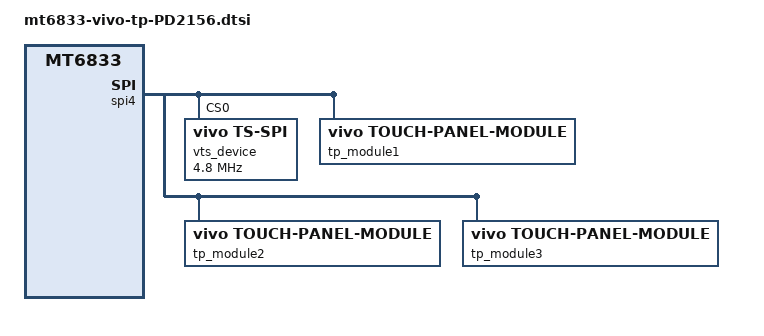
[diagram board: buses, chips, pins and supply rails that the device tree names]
/ {
	fragment@touch {
		target-path = "/";
		__overlay__ {
			mobileevent {
				status = "okay";
				compatible = "vivo,mobile_event";
				vivo-i2c-event=<1>;
				vivo-channel-broken=<1>;
				vivo-click-event=<1>;
				vivo-unexpected-reset-event=<1>;
				vivo-log-system=<0>;
				vivo-prox-near=<1>;
				vivo-hsync-collect=<1>;
				vivo-ic-mode=<1>;
				vivo-int-cost=<1>;
				vivo-large-press-event=<1>;
				vivo-multi-touch=<1>;
				vivo-press-area=<1>;
				// vivo-edge-reject-fail=<1>;
				vivo-resume-to-touch=<1>;
				vivo-handler-cost=<1>;
				vivo-five-more-touch=<1>;
			};
		};
	};
};

&pio {
	pd2156_tp_spi_mode: clk_mode_default {
		pins_cmd_dat {
			pinmux = <PINMUX_GPIO97__FUNC_SPI4_CLK>,
				<PINMUX_GPIO13__FUNC_SPI4_MO>;
			drive-strength = <4>; // 0:2mA 1:4mA 2:6mA 3:8mA 4:10mA 5:12mA 6:14mA 7:16mA
		};
	};
};

&spi4 {
	status = "okay";
	vts_device@0 {
		compatible = "vivo,ts-spi";
		status = "okay";
		reg=<0>;
		spi-max-frequency = <4800000>;
		pinctrl-names = "default";
		pinctrl-0 = <&pd2156_tp_spi_mode>;
		nt36672 {
			compatible = "novatek,NVT-ts-spi-v2";
			status = "ok";

			vts-type=<0>;
			vts-ic-number=<81>;
			spi-max-frequency = <9600000>;	//4800000,9600000,15000000,19200000
			novatek,reset-gpio = <&pio 186 0x00>;
			novatek,irq-gpio = <&pio 14 0x2001>;
			novatek,cs-gpio = <&pio 98 0x00>;
			novatek,miso-gpio = <&pio 12 0x00>;
			sensor-test-key="com.nttouchscreen.mptest:MainActivity:android.intent.action.novatek:0:testResult";
			lcm-noise-test-key="com.nt36xxxtouchscreen.deltadiff:MainActivity:null:null:null";
			rawdata-test-key="com.nttouchscreen.getdata:MainActivity:null:null:null";
			rf-noise-test-key="com.nt36xxxtouchscreen.deltadiff:BspTest:android.intent.action.nvtdeltadiff:0:testResult";

			novatek,swrst-n8-addr = <0x03F0FE>;
			//vts-incell-panel = <&dsi_nt36675_tm_fhdplus_video &dsi_ft8756_truly_fhdplus_video &dsi_nt36672c_tm657_dsc_fhdplus_video>;
		};

		ili_9882n {
			status = "okay";
			compatible = "tchip,ilitek";
			vts-type=<0>;
			vts-ic-number=<91>;
			spi-max-frequency = <9600000>;
			touch,reset-gpio = <&pio 186 0x00>;
			touch,irq-gpio = <&pio 14 0x2001>;

			sensor-test-key="com.ilitek.touchscreen.tptest3X:MP3XActivity:com.ilitek.touchscreen.action.tptest:0:ILITEK_TpTestResult";
			lcm-noise-test-key="com.ilitek.touchscreen.noisev2:MainActivity:null:null:null";
			rawdata-test-key="com.ilitek.touchscreen.noisev2:DataShowActivity:null:null:null";
			rf-noise-test-key="com.ilitek.touchscreen.noisev2:BspTestActivity:com.ilitek.touchscreen.action.noisetest:0:ILITEK_TpTestResult";
			//vts-incell-panel=<&dsi_pd2034_tm_ili9882n_hdplus_video &dsi_pd2034_inx_ili9882n_hdplus_video>;
		};

		ft8720 {
			compatible = "focaltech,ft8756_v2";
			vts-type=<0>;
			vts-ic-number=<38>;
			spi-max-frequency = <6000000>;	//4800000,9600000,15000000,19200000
			focaltech,ic_name = "ft8720";
			focaltech,reset-gpio = <&pio 186 0x00>;
			focaltech,irq-gpio = <&pio 14 0x2001>;
			focaltech,cs-gpio = <&pio 98 0x00>;
			focaltech,max-touch-number = <10>;
			focaltech,display-coords = <0 0 1080 2408>;
			focaltech,vts-gesture-separate = <1>;
			focaltech,vts-reset-poweroff = <1>;

			sensor-test-key="com.focaltouchscreen.sensortest:MainActivity:com.focaltouchscreen.sensortest:0:focal_test_result";
			lcm-noise-test-key="com.focaltech.deltadiff:MainActivity:null:null:null";
			rawdata-test-key="com.focaltech.deltadiff:DataActivity:null:null:null";
			rf-noise-test-key="com.focaltech.deltadiff:BspTestActivity:com.focaltech.deltadiff:0:testResult";
			//vts-incell-panel = <&dsi_pd2073_dj_ft8720_dsc_fhd_120_video>;
		};
	};

	tp_module1 {
		compatible = "vivo,touch-panel-module";
		vts-ic-number=<81>;
		vts-type=<0>;
		vts-lcmid=<19>; // CPD2117 INCELL TM XH SB NT36672C  1211772  lcmid  0x13
		vts-dimention-x=<1080>;
		vts-dimention-y=<2408>;
		vts-tx-sensors=<18>;
		vts-rx-sensors=<32>;
		vts-incell=<1>;
		vts-gesture=<1>;
		vts-need-caliberation=<0>;
		vts-virtual-proximinity=<0>;
		vts-long-press=<0>;
		vts-module-vendor=<0xF0>;
		vts-no-flash=<1>;
		vts-game-mode=<1>;
		vts-game-idle-time=<10>;
		vts-report-timestamp=<1>;
		vts-delay-avee=<200>;
		vts-set-card-region = <1>; // 支持设置卡包左滑区域设置
		vts-set-card-region-width = <200>; // 滑动区域宽度，单位为显示像素点
		vts-game-save-power=<1>; 	// 单独设置报点率
	};

	tp_module2 {
		compatible = "vivo,touch-panel-module";
		vts-ic-number=<91>;
		vts-type=<0>;
		vts-lcmid=<65>;// CPD2117 1211799 软ID 0CH DJI	ILI7807S
		vts-dimention-x=<1080>;
		vts-dimention-y=<2408>;
		vts-tx-sensors=<16>;
		vts-rx-sensors=<36>;
		vts-incell=<1>;
 		vts-need-caliberation=<0>;
 		vts-virtual-proximinity=<0>;
 		vts-long-press=<0>;
		vts-module-vendor=<0xF0>;
		vts-no-flash=<1>;
		vts-gesture=<1>;
		vts-game-mode=<1>;
		vts-game-idle-time=<10>;
		vts-set-card-region = <1>; // 支持设置卡包左滑区域设置
		vts-set-card-region-width = <200>; // 滑动区域宽度，单位为显示像素点
		vts-game-save-power=<1>; 	// 单独设置报点率
	};

	tp_module3 {
		compatible = "vivo,touch-panel-module";
		vts-ic-number=<38>;
		vts-type=<0>;
		vts-dimention-x=<1080>;
		vts-dimention-y=<2408>;
		vts-tx-sensors=<16>;
		vts-rx-sensors=<36>;
		vts-incell=<1>;
		vts-gesture=<1>;
		vts-need-caliberation=<0>;
		vts-virtual-proximinity=<0>;
		vts-long-press=<0>;
		vts-module-vendor=<0xC0>;
		vts-no-flash=<1>;
		vts-game-mode=<1>;
		vts-game-idle-time=<10>;
		vts-report-timestamp=<1>;
		vts-lcmid=<129>; // CPD2117 INCELL 华星 FT8720	1211794 lcmid 0x81
		vts-no-flash-unique-code=<1>;
		vts-set-card-region = <1>; // 支持设置卡包左滑区域设置
		vts-set-card-region-width = <200>; // 滑动区域宽度，单位为显示像素点
		//vts-set-blank=<1>;
	};
};
